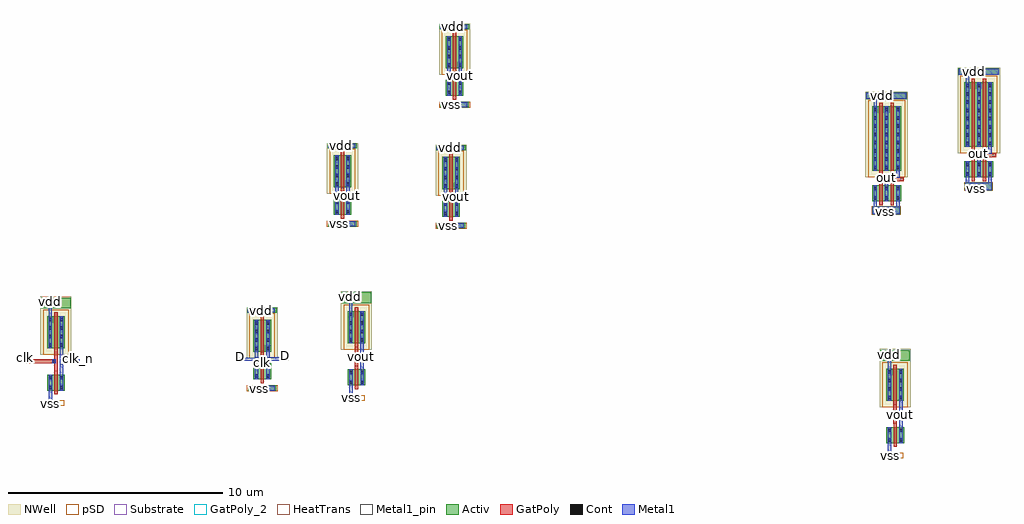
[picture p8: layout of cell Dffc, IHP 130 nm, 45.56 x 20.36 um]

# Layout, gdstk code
from math import pi, radians
import gdstk
lib = gdstk.Library(unit=1e-6, precision=1e-09)
def R(c, l, rs):  # rectangles x0, y0, x1, y1
    for r in rs: c.add(gdstk.rectangle(r[:2], r[2:], *l))
def A(c, l, x, y, w, h, nx, ny, dx, dy):  # array of equal rectangles
    R(c, l, [(x+i*dx, y+j*dy, x+i*dx+w, y+j*dy+h) for i in range(nx) for j in range(ny)])
def P(c, l, *ps):  # polygons
    for p in ps: c.add(gdstk.Polygon(p, *l))
Activ = (1, 0)
GatPoly = (5, 0)
GatPoly_2 = (5, 2)
Cont = (6, 0)
Metal1 = (8, 0)
Metal1_pin = (8, 2)
pSD = (14, 0)
NWell = (31, 0)
Substrate = (40, 0)
HeatTrans = (51, 0)

pmos_1_1 = lib.new_cell('pmos$1$1')
R(pmos_1_1, Activ, [(0,0,0.3,0.3), (0,0,0.83,3), (0.53,0,0.83,0.3)])
R(pmos_1_1, GatPoly, [(0.34,-0.18,0.49,3.18), (0.34,-0.18,0.49,3.18)])
A(pmos_1_1, Cont, 0.07, 0.07, 0.16, 0.16, 1, 7, 0, 0.385)
A(pmos_1_1, Cont, 0.6, 0.07, 0.16, 0.16, 1, 7, 0, 0.385)
R(pmos_1_1, Cont, [(0.07,2.77,0.23,2.93), (0.6,2.77,0.76,2.93)])
R(pmos_1_1, Metal1, [(0.07,0,0.23,3), (0.07,0,0.23,3), (0.6,0,0.76,3), (0.6,0,0.76,3)])
R(pmos_1_1, pSD, [(-0.18,-0.3,1.01,3.3)])
R(pmos_1_1, NWell, [(-0.31,-0.31,1.14,3.31)])
R(pmos_1_1, Substrate, [(0.53,0,0.83,0.3)])
R(pmos_1_1, HeatTrans, [(0.34,-0.18,0.49,3.18)])
pmos_1_1.add(gdstk.Label('pmos', (0.415,1.5), layer=63, texttype=0))
pmos_1_1.add(gdstk.Label('pmos', (0.415,1.5), layer=51, texttype=0))

nmos_1_1 = lib.new_cell('nmos$1$1')
R(nmos_1_1, Activ, [(0,0,0.3,0.3), (0,0,0.83,0.75), (0.53,0,0.83,0.3)])
R(nmos_1_1, GatPoly, [(0.34,-0.18,0.49,0.93)])
R(nmos_1_1, GatPoly_2, [(0.34,-0.18,0.49,0.93)])
R(nmos_1_1, Cont, [(0.07,0.07,0.23,0.23), (0.6,0.07,0.76,0.23), (0.07,0.52,0.23,0.68), (0.6,0.52,0.76,0.68)])
R(nmos_1_1, Metal1, [(0.07,0,0.23,0.75), (0.6,0,0.76,0.75)])
R(nmos_1_1, Metal1_pin, [(0.07,0,0.23,0.75), (0.6,0,0.76,0.75)])
R(nmos_1_1, HeatTrans, [(0.34,-0.18,0.49,0.93)])
nmos_1_1.add(gdstk.Label('nmos', (0.415,0.375), layer=63, texttype=0))
nmos_1_1.add(gdstk.Label('nmos', (0.415,0.375), layer=51, texttype=0))

nmos_3 = lib.new_cell('nmos$3')
R(nmos_3, Activ, [(0,0,0.3,0.3), (0,0,0.83,0.75), (0.53,0,0.83,0.3)])
R(nmos_3, GatPoly, [(0.34,-0.18,0.49,0.93)])
R(nmos_3, GatPoly_2, [(0.34,-0.18,0.49,0.93)])
R(nmos_3, Cont, [(0.07,0.07,0.23,0.23), (0.6,0.07,0.76,0.23), (0.07,0.52,0.23,0.68), (0.6,0.52,0.76,0.68)])
R(nmos_3, Metal1, [(0.07,0,0.23,0.75), (0.6,0,0.76,0.75)])
R(nmos_3, Metal1_pin, [(0.07,0,0.23,0.75), (0.6,0,0.76,0.75)])
R(nmos_3, HeatTrans, [(0.34,-0.18,0.49,0.93)])
nmos_3.add(gdstk.Label('nmos', (0.415,0.375), layer=63, texttype=0))
nmos_3.add(gdstk.Label('nmos', (0.415,0.375), layer=51, texttype=0))

pmos_3 = lib.new_cell('pmos$3')
R(pmos_3, Activ, [(0,0,0.3,0.3), (0,0,0.83,1.5), (0.53,0,0.83,0.3)])
R(pmos_3, GatPoly, [(0.34,-0.18,0.49,1.68), (0.34,-0.18,0.49,1.68)])
A(pmos_3, Cont, 0.07, 0.07, 0.16, 0.16, 1, 4, 0, 0.4)
A(pmos_3, Cont, 0.6, 0.07, 0.16, 0.16, 1, 4, 0, 0.4)
R(pmos_3, Metal1, [(0.07,0,0.23,1.5), (0.07,0,0.23,1.5), (0.6,0,0.76,1.5), (0.6,0,0.76,1.5)])
R(pmos_3, pSD, [(-0.18,-0.3,1.01,1.8)])
R(pmos_3, NWell, [(-0.31,-0.31,1.14,1.81)])
R(pmos_3, Substrate, [(0.53,0,0.83,0.3)])
R(pmos_3, HeatTrans, [(0.34,-0.18,0.49,1.68)])
pmos_3.add(gdstk.Label('pmos', (0.415,0.75), layer=63, texttype=0))
pmos_3.add(gdstk.Label('pmos', (0.415,0.75), layer=51, texttype=0))

nmos_1_3 = lib.new_cell('nmos$1$3')
R(nmos_1_3, Activ, [(0,0,0.3,0.3), (0,0,0.83,0.75), (0.53,0,0.83,0.3)])
R(nmos_1_3, GatPoly, [(0.34,-0.18,0.49,0.93)])
R(nmos_1_3, GatPoly_2, [(0.34,-0.18,0.49,0.93)])
R(nmos_1_3, Cont, [(0.07,0.07,0.23,0.23), (0.6,0.07,0.76,0.23), (0.07,0.52,0.23,0.68), (0.6,0.52,0.76,0.68)])
R(nmos_1_3, Metal1, [(0.07,0,0.23,0.75), (0.6,0,0.76,0.75)])
R(nmos_1_3, Metal1_pin, [(0.07,0,0.23,0.75), (0.6,0,0.76,0.75)])
R(nmos_1_3, HeatTrans, [(0.34,-0.18,0.49,0.93)])
nmos_1_3.add(gdstk.Label('nmos', (0.415,0.375), layer=63, texttype=0))
nmos_1_3.add(gdstk.Label('nmos', (0.415,0.375), layer=51, texttype=0))

pmos_1_3 = lib.new_cell('pmos$1$3')
R(pmos_1_3, Activ, [(0,0,0.3,0.3), (0,0,0.83,1.5), (0.53,0,0.83,0.3)])
R(pmos_1_3, GatPoly, [(0.34,-0.18,0.49,1.68), (0.34,-0.18,0.49,1.68)])
A(pmos_1_3, Cont, 0.07, 0.07, 0.16, 0.16, 1, 4, 0, 0.4)
A(pmos_1_3, Cont, 0.6, 0.07, 0.16, 0.16, 1, 4, 0, 0.4)
R(pmos_1_3, Metal1, [(0.07,0,0.23,1.5), (0.07,0,0.23,1.5), (0.6,0,0.76,1.5), (0.6,0,0.76,1.5)])
R(pmos_1_3, pSD, [(-0.18,-0.3,1.01,1.8)])
R(pmos_1_3, NWell, [(-0.31,-0.31,1.14,1.81)])
R(pmos_1_3, Substrate, [(0.53,0,0.83,0.3)])
R(pmos_1_3, HeatTrans, [(0.34,-0.18,0.49,1.68)])
pmos_1_3.add(gdstk.Label('pmos', (0.415,0.75), layer=63, texttype=0))
pmos_1_3.add(gdstk.Label('pmos', (0.415,0.75), layer=51, texttype=0))

nmos_1_3_1 = lib.new_cell('nmos$1$3$1')
R(nmos_1_3_1, Activ, [(0,0,0.3,0.3), (0,0,0.83,0.75), (0.53,0,0.83,0.3)])
R(nmos_1_3_1, GatPoly, [(0.34,-0.18,0.49,0.93)])
R(nmos_1_3_1, GatPoly_2, [(0.34,-0.18,0.49,0.93)])
R(nmos_1_3_1, Cont, [(0.07,0.07,0.23,0.23), (0.6,0.07,0.76,0.23), (0.07,0.52,0.23,0.68), (0.6,0.52,0.76,0.68)])
R(nmos_1_3_1, Metal1, [(0.07,0,0.23,0.75), (0.6,0,0.76,0.75)])
R(nmos_1_3_1, Metal1_pin, [(0.07,0,0.23,0.75), (0.6,0,0.76,0.75)])
R(nmos_1_3_1, HeatTrans, [(0.34,-0.18,0.49,0.93)])
nmos_1_3_1.add(gdstk.Label('nmos', (0.415,0.375), layer=63, texttype=0))
nmos_1_3_1.add(gdstk.Label('nmos', (0.415,0.375), layer=51, texttype=0))

pmos_1_3_1 = lib.new_cell('pmos$1$3$1')
R(pmos_1_3_1, Activ, [(0,0,0.3,0.3), (0,0,0.83,1.5), (0.53,0,0.83,0.3)])
R(pmos_1_3_1, GatPoly, [(0.34,-0.18,0.49,1.68), (0.34,-0.18,0.49,1.68)])
A(pmos_1_3_1, Cont, 0.07, 0.07, 0.16, 0.16, 1, 4, 0, 0.4)
A(pmos_1_3_1, Cont, 0.6, 0.07, 0.16, 0.16, 1, 4, 0, 0.4)
R(pmos_1_3_1, Metal1, [(0.07,0,0.23,1.5), (0.07,0,0.23,1.5), (0.6,0,0.76,1.5), (0.6,0,0.76,1.5)])
R(pmos_1_3_1, pSD, [(-0.18,-0.3,1.01,1.8)])
R(pmos_1_3_1, NWell, [(-0.31,-0.31,1.14,1.81)])
R(pmos_1_3_1, Substrate, [(0.53,0,0.83,0.3)])
R(pmos_1_3_1, HeatTrans, [(0.34,-0.18,0.49,1.68)])
pmos_1_3_1.add(gdstk.Label('pmos', (0.415,0.75), layer=63, texttype=0))
pmos_1_3_1.add(gdstk.Label('pmos', (0.415,0.75), layer=51, texttype=0))

nmos_1_3_1_1 = lib.new_cell('nmos$1$3$1$1')
R(nmos_1_3_1_1, Activ, [(0,0,0.3,0.3), (0,0,0.83,0.75), (0.53,0,0.83,0.3)])
R(nmos_1_3_1_1, GatPoly, [(0.34,-0.18,0.49,0.93)])
R(nmos_1_3_1_1, GatPoly_2, [(0.34,-0.18,0.49,0.93)])
R(nmos_1_3_1_1, Cont, [(0.07,0.07,0.23,0.23), (0.6,0.07,0.76,0.23), (0.07,0.52,0.23,0.68), (0.6,0.52,0.76,0.68)])
R(nmos_1_3_1_1, Metal1, [(0.07,0,0.23,0.75), (0.6,0,0.76,0.75)])
R(nmos_1_3_1_1, Metal1_pin, [(0.07,0,0.23,0.75), (0.6,0,0.76,0.75)])
R(nmos_1_3_1_1, HeatTrans, [(0.34,-0.18,0.49,0.93)])
nmos_1_3_1_1.add(gdstk.Label('nmos', (0.415,0.375), layer=63, texttype=0))
nmos_1_3_1_1.add(gdstk.Label('nmos', (0.415,0.375), layer=51, texttype=0))

pmos_1_3_1_1 = lib.new_cell('pmos$1$3$1$1')
R(pmos_1_3_1_1, Activ, [(0,0,0.3,0.3), (0,0,0.83,1.5), (0.53,0,0.83,0.3)])
R(pmos_1_3_1_1, GatPoly, [(0.34,-0.18,0.49,1.68), (0.34,-0.18,0.49,1.68)])
A(pmos_1_3_1_1, Cont, 0.07, 0.07, 0.16, 0.16, 1, 4, 0, 0.4)
A(pmos_1_3_1_1, Cont, 0.6, 0.07, 0.16, 0.16, 1, 4, 0, 0.4)
R(pmos_1_3_1_1, Metal1, [(0.07,0,0.23,1.5), (0.07,0,0.23,1.5), (0.6,0,0.76,1.5), (0.6,0,0.76,1.5)])
R(pmos_1_3_1_1, pSD, [(-0.18,-0.3,1.01,1.8)])
R(pmos_1_3_1_1, NWell, [(-0.31,-0.31,1.14,1.81)])
R(pmos_1_3_1_1, Substrate, [(0.53,0,0.83,0.3)])
R(pmos_1_3_1_1, HeatTrans, [(0.34,-0.18,0.49,1.68)])
pmos_1_3_1_1.add(gdstk.Label('pmos', (0.415,0.75), layer=63, texttype=0))
pmos_1_3_1_1.add(gdstk.Label('pmos', (0.415,0.75), layer=51, texttype=0))

nmos_3_1 = lib.new_cell('nmos$3$1')
R(nmos_3_1, Activ, [(0,0,0.3,0.3), (0,0,0.83,0.75), (0.53,0,0.83,0.3)])
R(nmos_3_1, GatPoly, [(0.34,-0.18,0.49,0.93)])
R(nmos_3_1, GatPoly_2, [(0.34,-0.18,0.49,0.93)])
R(nmos_3_1, Cont, [(0.07,0.07,0.23,0.23), (0.6,0.07,0.76,0.23), (0.07,0.52,0.23,0.68), (0.6,0.52,0.76,0.68)])
R(nmos_3_1, Metal1, [(0.07,0,0.23,0.75), (0.6,0,0.76,0.75)])
R(nmos_3_1, Metal1_pin, [(0.07,0,0.23,0.75), (0.6,0,0.76,0.75)])
R(nmos_3_1, HeatTrans, [(0.34,-0.18,0.49,0.93)])
nmos_3_1.add(gdstk.Label('nmos', (0.415,0.375), layer=63, texttype=0))
nmos_3_1.add(gdstk.Label('nmos', (0.415,0.375), layer=51, texttype=0))

pmos_3_1 = lib.new_cell('pmos$3$1')
R(pmos_3_1, Activ, [(0,0,0.3,0.3), (0,0,0.83,1.5), (0.53,0,0.83,0.3)])
R(pmos_3_1, GatPoly, [(0.34,-0.18,0.49,1.68), (0.34,-0.18,0.49,1.68)])
A(pmos_3_1, Cont, 0.07, 0.07, 0.16, 0.16, 1, 4, 0, 0.4)
A(pmos_3_1, Cont, 0.6, 0.07, 0.16, 0.16, 1, 4, 0, 0.4)
R(pmos_3_1, Metal1, [(0.07,0,0.23,1.5), (0.07,0,0.23,1.5), (0.6,0,0.76,1.5), (0.6,0,0.76,1.5)])
R(pmos_3_1, pSD, [(-0.18,-0.3,1.01,1.8)])
R(pmos_3_1, NWell, [(-0.31,-0.31,1.14,1.81)])
R(pmos_3_1, Substrate, [(0.53,0,0.83,0.3)])
R(pmos_3_1, HeatTrans, [(0.34,-0.18,0.49,1.68)])
pmos_3_1.add(gdstk.Label('pmos', (0.415,0.75), layer=63, texttype=0))
pmos_3_1.add(gdstk.Label('pmos', (0.415,0.75), layer=51, texttype=0))

nmos_3_1_1 = lib.new_cell('nmos$3$1$1')
R(nmos_3_1_1, Activ, [(0,0,0.3,0.3), (0,0,0.83,0.75), (0.53,0,0.83,0.3)])
R(nmos_3_1_1, GatPoly, [(0.34,-0.18,0.49,0.93)])
R(nmos_3_1_1, GatPoly_2, [(0.34,-0.18,0.49,0.93)])
R(nmos_3_1_1, Cont, [(0.07,0.07,0.23,0.23), (0.6,0.07,0.76,0.23), (0.07,0.52,0.23,0.68), (0.6,0.52,0.76,0.68)])
R(nmos_3_1_1, Metal1, [(0.07,0,0.23,0.75), (0.6,0,0.76,0.75)])
R(nmos_3_1_1, Metal1_pin, [(0.07,0,0.23,0.75), (0.6,0,0.76,0.75)])
R(nmos_3_1_1, HeatTrans, [(0.34,-0.18,0.49,0.93)])
nmos_3_1_1.add(gdstk.Label('nmos', (0.415,0.375), layer=63, texttype=0))
nmos_3_1_1.add(gdstk.Label('nmos', (0.415,0.375), layer=51, texttype=0))

pmos_3_1_1 = lib.new_cell('pmos$3$1$1')
R(pmos_3_1_1, Activ, [(0,0,0.3,0.3), (0,0,0.83,1.5), (0.53,0,0.83,0.3)])
R(pmos_3_1_1, GatPoly, [(0.34,-0.18,0.49,1.68), (0.34,-0.18,0.49,1.68)])
A(pmos_3_1_1, Cont, 0.07, 0.07, 0.16, 0.16, 1, 4, 0, 0.4)
A(pmos_3_1_1, Cont, 0.6, 0.07, 0.16, 0.16, 1, 4, 0, 0.4)
R(pmos_3_1_1, Metal1, [(0.07,0,0.23,1.5), (0.07,0,0.23,1.5), (0.6,0,0.76,1.5), (0.6,0,0.76,1.5)])
R(pmos_3_1_1, pSD, [(-0.18,-0.3,1.01,1.8)])
R(pmos_3_1_1, NWell, [(-0.31,-0.31,1.14,1.81)])
R(pmos_3_1_1, Substrate, [(0.53,0,0.83,0.3)])
R(pmos_3_1_1, HeatTrans, [(0.34,-0.18,0.49,1.68)])
pmos_3_1_1.add(gdstk.Label('pmos', (0.415,0.75), layer=63, texttype=0))
pmos_3_1_1.add(gdstk.Label('pmos', (0.415,0.75), layer=51, texttype=0))

nmos_3_1_1_1 = lib.new_cell('nmos$3$1$1$1')
R(nmos_3_1_1_1, Activ, [(0,0,0.3,0.3), (0,0,0.83,0.75), (0.53,0,0.83,0.3)])
R(nmos_3_1_1_1, GatPoly, [(0.34,-0.18,0.49,0.93)])
R(nmos_3_1_1_1, GatPoly_2, [(0.34,-0.18,0.49,0.93)])
R(nmos_3_1_1_1, Cont, [(0.07,0.07,0.23,0.23), (0.6,0.07,0.76,0.23), (0.07,0.52,0.23,0.68), (0.6,0.52,0.76,0.68)])
R(nmos_3_1_1_1, Metal1, [(0.07,0,0.23,0.75), (0.6,0,0.76,0.75)])
R(nmos_3_1_1_1, Metal1_pin, [(0.07,0,0.23,0.75), (0.6,0,0.76,0.75)])
R(nmos_3_1_1_1, HeatTrans, [(0.34,-0.18,0.49,0.93)])
nmos_3_1_1_1.add(gdstk.Label('nmos', (0.415,0.375), layer=63, texttype=0))
nmos_3_1_1_1.add(gdstk.Label('nmos', (0.415,0.375), layer=51, texttype=0))

pmos_3_1_1_1 = lib.new_cell('pmos$3$1$1$1')
R(pmos_3_1_1_1, Activ, [(0,0,0.3,0.3), (0,0,0.83,1.5), (0.53,0,0.83,0.3)])
R(pmos_3_1_1_1, GatPoly, [(0.34,-0.18,0.49,1.68), (0.34,-0.18,0.49,1.68)])
A(pmos_3_1_1_1, Cont, 0.07, 0.07, 0.16, 0.16, 1, 4, 0, 0.4)
A(pmos_3_1_1_1, Cont, 0.6, 0.07, 0.16, 0.16, 1, 4, 0, 0.4)
R(pmos_3_1_1_1, Metal1, [(0.07,0,0.23,1.5), (0.07,0,0.23,1.5), (0.6,0,0.76,1.5), (0.6,0,0.76,1.5)])
R(pmos_3_1_1_1, pSD, [(-0.18,-0.3,1.01,1.8)])
R(pmos_3_1_1_1, NWell, [(-0.31,-0.31,1.14,1.81)])
R(pmos_3_1_1_1, Substrate, [(0.53,0,0.83,0.3)])
R(pmos_3_1_1_1, HeatTrans, [(0.34,-0.18,0.49,1.68)])
pmos_3_1_1_1.add(gdstk.Label('pmos', (0.415,0.75), layer=63, texttype=0))
pmos_3_1_1_1.add(gdstk.Label('pmos', (0.415,0.75), layer=51, texttype=0))

pmos_1_1_1 = lib.new_cell('pmos$1$1$1')
R(pmos_1_1_1, Activ, [(0,0,0.3,0.3), (0,0,0.83,3), (0.53,0,0.83,0.3)])
R(pmos_1_1_1, GatPoly, [(0.34,-0.18,0.49,3.18), (0.34,-0.18,0.49,3.18)])
A(pmos_1_1_1, Cont, 0.07, 0.07, 0.16, 0.16, 1, 7, 0, 0.385)
A(pmos_1_1_1, Cont, 0.6, 0.07, 0.16, 0.16, 1, 7, 0, 0.385)
R(pmos_1_1_1, Cont, [(0.07,2.77,0.23,2.93), (0.6,2.77,0.76,2.93)])
R(pmos_1_1_1, Metal1, [(0.07,0,0.23,3), (0.07,0,0.23,3), (0.6,0,0.76,3), (0.6,0,0.76,3)])
R(pmos_1_1_1, pSD, [(-0.18,-0.3,1.01,3.3)])
R(pmos_1_1_1, NWell, [(-0.31,-0.31,1.14,3.31)])
R(pmos_1_1_1, Substrate, [(0.53,0,0.83,0.3)])
R(pmos_1_1_1, HeatTrans, [(0.34,-0.18,0.49,3.18)])
pmos_1_1_1.add(gdstk.Label('pmos', (0.415,1.5), layer=63, texttype=0))
pmos_1_1_1.add(gdstk.Label('pmos', (0.415,1.5), layer=51, texttype=0))

nmos_1_1_1 = lib.new_cell('nmos$1$1$1')
R(nmos_1_1_1, Activ, [(0,0,0.3,0.3), (0,0,0.83,0.75), (0.53,0,0.83,0.3)])
R(nmos_1_1_1, GatPoly, [(0.34,-0.18,0.49,0.93)])
R(nmos_1_1_1, GatPoly_2, [(0.34,-0.18,0.49,0.93)])
R(nmos_1_1_1, Cont, [(0.07,0.07,0.23,0.23), (0.6,0.07,0.76,0.23), (0.07,0.52,0.23,0.68), (0.6,0.52,0.76,0.68)])
R(nmos_1_1_1, Metal1, [(0.07,0,0.23,0.75), (0.6,0,0.76,0.75)])
R(nmos_1_1_1, Metal1_pin, [(0.07,0,0.23,0.75), (0.6,0,0.76,0.75)])
R(nmos_1_1_1, HeatTrans, [(0.34,-0.18,0.49,0.93)])
nmos_1_1_1.add(gdstk.Label('nmos', (0.415,0.375), layer=63, texttype=0))
nmos_1_1_1.add(gdstk.Label('nmos', (0.415,0.375), layer=51, texttype=0))

dffc = lib.new_cell('Dffc')
R(dffc, Activ, [(21.869,0.649,22.504,0.819), (-17.309,3.101,-16.674,3.271), (-3.278,3.342,-2.643,3.512), (-7.891,3.742,-6.576,3.997), (21.624,5.144,23.009,5.649), (-7.931,7.392,-6.556,7.622), (-17.554,7.596,-16.169,8.101), (-3.523,7.837,-2.138,8.342), (0.924,11.333,2.239,11.588), (-4.143,11.417,-2.828,11.672), (21.259,11.978,22.544,12.343), (25.562,13.101,26.847,13.466), (0.884,14.983,2.259,15.213), (-4.183,15.067,-2.808,15.297), (1.089,16.979,2.404,17.234), (20.959,17.368,22.859,17.683), (25.262,18.491,27.162,18.806), (1.049,20.629,2.424,20.859)])
R(dffc, GatPoly, [(22.239,2.209,22.389,3.099), (22.129,2.589,22.299,2.759), (-2.908,4.902,-2.758,5.792), (-3.018,5.282,-2.848,5.452)])
P(dffc, GatPoly, [(-16.939,4.661),(-16.939,5.038),(-18.353,5.038),(-18.353,5.228),(-16.939,5.228),(-16.939,5.551),(-16.789,5.551),(-16.789,4.661)],
  [(22.109,13.523),(22.109,13.843),(22.259,13.843),(22.259,13.713),(22.729,13.713),(22.729,13.523)],
  [(21.579,13.458),(21.579,13.548),(21.544,13.548),(21.544,13.713),(21.579,13.713),(21.579,13.843),(21.729,13.843),(21.729,13.458)],
  [(26.412,14.646),(26.412,14.966),(26.562,14.966),(26.562,14.836),(27.032,14.836),(27.032,14.646)],
  [(25.882,14.581),(25.882,14.671),(25.847,14.671),(25.847,14.836),(25.882,14.836),(25.882,14.966),(26.032,14.966),(26.032,14.581)])
R(dffc, GatPoly_2, [(-7.306,5.062,-7.156,5.207), (-7.306,5.392,-7.156,5.557), (1.509,12.653,1.659,12.798), (-3.558,12.737,-3.408,12.882), (1.509,12.983,1.659,13.148), (-3.558,13.067,-3.408,13.232), (22.564,13.543,22.719,13.703), (21.549,13.553,21.719,13.708), (26.867,14.666,27.022,14.826), (25.852,14.676,26.022,14.831), (1.674,18.299,1.824,18.444), (1.674,18.629,1.824,18.794)])
R(dffc, Cont, [(21.979,0.649,22.139,0.809), (22.139,2.594,22.299,2.754), (-17.199,3.101,-17.039,3.261), (-3.168,3.342,-3.008,3.502), (-7.446,3.787,-7.281,3.947), (-17.039,5.046,-16.879,5.206), (-7.576,5.142,-7.416,5.302), (-7.046,5.142,-6.886,5.302), (-3.008,5.287,-2.848,5.447), (21.969,5.324,22.129,5.484), (-7.366,7.427,-7.206,7.587), (-17.209,7.776,-17.049,7.936), (-3.178,8.017,-3.018,8.177), (1.369,11.378,1.534,11.538), (-3.698,11.462,-3.533,11.622), (21.744,12.038,21.954,12.243), (1.239,12.733,1.399,12.893), (1.769,12.733,1.929,12.893), (-3.828,12.817,-3.668,12.977), (-3.298,12.817,-3.138,12.977), (26.047,13.161,26.257,13.366), (21.839,13.683,21.999,13.843), (26.142,14.806,26.302,14.966), (1.449,15.018,1.609,15.178), (-3.618,15.102,-3.458,15.262), (1.534,17.024,1.699,17.184), (21.634,17.463,21.794,17.623), (1.404,18.379,1.564,18.539), (1.934,18.379,2.094,18.539), (25.937,18.586,26.097,18.746), (1.614,20.664,1.774,20.824)])
R(dffc, Metal1, [(21.974,0.514,22.134,1.304), (22.499,2.029,22.664,3.279), (22.134,2.589,22.304,2.759), (-17.204,2.966,-17.044,3.756), (-3.173,3.207,-3.013,3.997), (-7.826,3.757,-6.636,3.977), (-2.648,4.722,-2.483,5.972), (21.969,4.779,22.129,5.694), (-17.044,5.041,-16.874,5.211), (-3.013,5.282,-2.843,5.452), (-17.209,7.231,-17.049,8.146), (-7.901,7.417,-6.636,7.597), (-3.178,7.472,-3.018,8.387), (0.989,11.348,2.179,11.568), (-4.078,11.432,-2.888,11.652), (1.239,12.598,1.399,13.163), (1.769,12.608,1.929,13.178), (-3.828,12.682,-3.668,13.247), (-3.298,12.692,-3.138,13.262), (0.914,15.008,2.179,15.188), (-4.153,15.092,-2.888,15.272), (1.154,16.994,2.344,17.214), (1.404,18.244,1.564,18.809), (1.934,18.254,2.094,18.824), (1.079,20.654,2.344,20.834)])
P(dffc, Metal1, [(-16.679,4.481),(-16.679,5.731),(-16.514,5.731),(-16.514,5.221),(-15.753,5.221),(-15.753,5.019),(-16.514,5.019),(-16.514,4.481)],
  [(-7.576,5.007),(-7.576,5.142),(-8.281,5.142),(-8.281,5.301),(-7.576,5.301),(-7.576,5.572),(-7.416,5.572),(-7.416,5.007)],
  [(-7.046,5.017),(-7.046,5.587),(-6.886,5.587),(-6.886,5.302),(-6.011,5.302),(-6.011,5.142),(-6.886,5.142),(-6.886,5.017)],
  [(21.279,11.993),(21.279,12.328),(21.309,12.328),(21.309,12.593),(21.469,12.593),(21.469,12.328),(22.369,12.328),(22.369,12.593),(22.529,12.593),(22.529,11.993)],
  [(21.839,13.333),(21.839,13.843),(22.369,13.843),(22.369,14.023),(22.529,14.023),(22.529,13.683),(21.999,13.683),(21.999,13.333)],
  [(21.309,17.023),(21.309,17.388),(20.979,17.388),(20.979,17.658),(22.839,17.658),(22.839,17.388),(21.469,17.388),(21.469,17.023)],
  [(25.582,13.116),(25.582,13.451),(25.612,13.451),(25.612,13.716),(25.772,13.716),(25.772,13.451),(26.672,13.451),(26.672,13.716),(26.832,13.716),(26.832,13.116)],
  [(26.142,14.456),(26.142,14.966),(26.672,14.966),(26.672,15.146),(26.832,15.146),(26.832,14.806),(26.302,14.806),(26.302,14.456)],
  [(25.612,18.146),(25.612,18.511),(25.282,18.511),(25.282,18.781),(27.142,18.781),(27.142,18.511),(25.772,18.511),(25.772,18.146)],
  [(-3.173,3.997),(-3.173,3.997),(-3.013,3.997),(-3.013,3.997)],
  [(21.974,1.304),(21.974,1.304),(22.134,1.304),(22.134,1.304)],
  [(-17.204,3.756),(-17.204,3.756),(-17.044,3.756),(-17.044,3.756)])
R(dffc, Metal1_pin, [(21.974,0.644,22.134,0.819), (22.499,2.514,22.664,2.769), (-17.204,3.096,-17.044,3.271), (-3.173,3.337,-3.013,3.512), (-7.446,3.787,-7.281,3.947), (-16.679,4.966,-16.514,5.221), (-7.576,5.107,-7.416,5.317), (-7.046,5.117,-6.886,5.317), (-2.648,5.207,-2.483,5.462), (21.969,5.209,22.129,5.614), (-7.366,7.427,-7.206,7.587), (-17.209,7.661,-17.049,8.066), (-3.178,7.902,-3.018,8.307), (1.369,11.378,1.534,11.538), (-3.698,11.462,-3.533,11.622), (21.744,12.038,21.954,12.243), (1.239,12.698,1.399,12.908), (1.769,12.708,1.929,12.908), (-3.828,12.782,-3.668,12.992), (-3.298,12.792,-3.138,12.992), (26.047,13.161,26.257,13.366), (21.839,13.683,21.999,13.843), (26.142,14.806,26.302,14.966), (1.449,15.018,1.609,15.178), (-3.618,15.102,-3.458,15.262), (1.534,17.024,1.699,17.184), (21.634,17.468,21.794,17.623), (1.404,18.344,1.564,18.554), (1.934,18.354,2.094,18.554), (25.937,18.591,26.097,18.746), (1.614,20.664,1.774,20.824)])
R(dffc, pSD, [(21.844,0.599,22.704,0.844), (-17.334,3.051,-16.474,3.296), (-3.303,3.292,-2.443,3.537), (-7.956,3.727,-6.506,4.007), (0.859,11.318,2.309,11.598), (-4.208,11.402,-2.758,11.682), (21.234,11.958,22.569,12.363), (25.537,13.081,26.872,13.486), (1.024,16.964,2.474,17.244)])
R(dffc, NWell, [(21.589,5.089,23.039,5.699), (-7.956,7.382,-6.506,7.637), (-17.589,7.541,-16.139,8.151), (-3.558,7.782,-2.108,8.392), (0.859,14.973,2.309,15.228), (-4.208,15.057,-2.758,15.312), (20.929,17.333,22.909,17.708), (25.232,18.456,27.212,18.831), (1.024,20.619,2.474,20.874)])
dffc.add(gdstk.Reference(pmos_1_1, (22.599,17.023), rotation=pi))
dffc.add(gdstk.Reference(nmos_1_1, (22.069,13.343), rotation=pi))
dffc.add(gdstk.Reference(nmos_1_1, (22.599,13.343), rotation=pi))
dffc.add(gdstk.Reference(pmos_1_1, (22.069,17.023), rotation=pi))
dffc.add(gdstk.Reference(nmos_3, (-3.898,11.957)))
dffc.add(gdstk.Reference(pmos_3, (-3.898,13.247)))
dffc.add(gdstk.Reference(nmos_1_3, (-2.413,4.747), rotation=pi))
dffc.add(gdstk.Reference(pmos_1_3, (-2.418,7.472), rotation=pi))
dffc.add(gdstk.Reference(nmos_1_3_1, (22.734,2.054), rotation=pi))
dffc.add(gdstk.Reference(pmos_1_3_1, (22.729,4.779), rotation=pi))
dffc.add(gdstk.Reference(nmos_1_3_1_1, (-16.444,4.506), rotation=pi))
dffc.add(gdstk.Reference(pmos_1_3_1_1, (-16.449,7.231), rotation=pi))
dffc.add(gdstk.Reference(nmos_3_1, (1.169,11.873)))
dffc.add(gdstk.Reference(pmos_3_1, (1.169,13.163)))
dffc.add(gdstk.Reference(nmos_3_1_1, (1.334,17.519)))
dffc.add(gdstk.Reference(pmos_3_1_1, (1.334,18.809)))
dffc.add(gdstk.Reference(nmos_3_1_1_1, (-7.646,4.282)))
dffc.add(gdstk.Reference(pmos_3_1_1_1, (-7.646,5.572)))
dffc.add(gdstk.Reference(pmos_1_1_1, (26.902,18.146), rotation=pi))
dffc.add(gdstk.Reference(nmos_1_1_1, (26.372,14.466), rotation=pi))
dffc.add(gdstk.Reference(nmos_1_1_1, (26.902,14.466), rotation=pi))
dffc.add(gdstk.Reference(pmos_1_1_1, (26.372,18.146), rotation=pi))
dffc.add(gdstk.Label('clk', (-18.279,5.325), layer=63, texttype=0))
dffc.add(gdstk.Label('clk_n', (-15.793,5.255), layer=63, texttype=0))
dffc.add(gdstk.Label('D', (-8.232,5.356), layer=63, texttype=0))
dffc.add(gdstk.Label('D', (-6.168,5.387), layer=63, texttype=0))
dffc.add(gdstk.Label('clk', (-7.218,5.087), layer=63, texttype=0))
dffc.add(gdstk.Label('clk_n', (-7.228,5.445), layer=63, texttype=0))
dffc.add(gdstk.Label('out', (21.899,13.713), layer=8, texttype=2))
dffc.add(gdstk.Label('vss', (21.864,12.113), layer=8, texttype=2))
dffc.add(gdstk.Label('vdd', (21.704,17.538), layer=8, texttype=2))
dffc.add(gdstk.Label('vout', (-3.228,12.887), layer=8, texttype=2))
dffc.add(gdstk.Label('vin', (-3.758,12.872), layer=8, texttype=2))
dffc.add(gdstk.Label('vss', (-3.608,11.542), layer=8, texttype=2))
dffc.add(gdstk.Label('vdd', (-3.528,15.182), layer=8, texttype=2))
dffc.add(gdstk.Label('vout', (22.549,2.649), layer=8, texttype=2))
dffc.add(gdstk.Label('vss', (22.079,0.724), layer=8, texttype=2))
dffc.add(gdstk.Label('vdd', (22.054,5.459), layer=8, texttype=2))
dffc.add(gdstk.Label('vout', (-16.629,5.101), layer=8, texttype=2))
dffc.add(gdstk.Label('vss', (-17.099,3.176), layer=8, texttype=2))
dffc.add(gdstk.Label('vdd', (-17.124,7.911), layer=8, texttype=2))
dffc.add(gdstk.Label('vout', (1.839,12.803), layer=8, texttype=2))
dffc.add(gdstk.Label('vin', (1.309,12.788), layer=8, texttype=2))
dffc.add(gdstk.Label('vss', (1.459,11.458), layer=8, texttype=2))
dffc.add(gdstk.Label('vdd', (1.539,15.098), layer=8, texttype=2))
dffc.add(gdstk.Label('vout', (2.004,18.449), layer=8, texttype=2))
dffc.add(gdstk.Label('vin', (1.474,18.434), layer=8, texttype=2))
dffc.add(gdstk.Label('vss', (1.624,17.104), layer=8, texttype=2))
dffc.add(gdstk.Label('vdd', (1.704,20.744), layer=8, texttype=2))
dffc.add(gdstk.Label('vout', (-6.976,5.212), layer=8, texttype=2))
dffc.add(gdstk.Label('vin', (-7.506,5.197), layer=8, texttype=2))
dffc.add(gdstk.Label('vss', (-7.356,3.867), layer=8, texttype=2))
dffc.add(gdstk.Label('vdd', (-7.276,7.507), layer=8, texttype=2))
dffc.add(gdstk.Label('out', (26.202,14.836), layer=8, texttype=2))
dffc.add(gdstk.Label('vss', (26.1,13.21), layer=8, texttype=2))
dffc.add(gdstk.Label('vdd', (26.007,18.661), layer=8, texttype=2))
dffc.add(gdstk.Label('vout', (-2.598,5.342), layer=8, texttype=2))
dffc.add(gdstk.Label('vss', (-3.068,3.417), layer=8, texttype=2))
dffc.add(gdstk.Label('vdd', (-3.093,8.152), layer=8, texttype=2))
dffc.add(gdstk.Label('D', (22.659,13.638), layer=5, texttype=2))
dffc.add(gdstk.Label('clr', (21.629,13.628), layer=5, texttype=2))
dffc.add(gdstk.Label('Entrada_N', (-3.458,12.812), layer=5, texttype=2))
dffc.add(gdstk.Label('Entrada_P', (-3.493,13.162), layer=5, texttype=2))
dffc.add(gdstk.Label('vin', (22.214,2.664), layer=5, texttype=2))
dffc.add(gdstk.Label('vin', (-16.964,5.116), layer=5, texttype=2))
dffc.add(gdstk.Label('Entrada_N', (1.609,12.728), layer=5, texttype=2))
dffc.add(gdstk.Label('Entrada_P', (1.574,13.078), layer=5, texttype=2))
dffc.add(gdstk.Label('Entrada_N', (1.774,18.374), layer=5, texttype=2))
dffc.add(gdstk.Label('Entrada_P', (1.739,18.724), layer=5, texttype=2))
dffc.add(gdstk.Label('Entrada_N', (-7.206,5.137), layer=5, texttype=2))
dffc.add(gdstk.Label('Entrada_P', (-7.241,5.487), layer=5, texttype=2))
dffc.add(gdstk.Label('D', (26.962,14.761), layer=5, texttype=2))
dffc.add(gdstk.Label('clr', (25.932,14.751), layer=5, texttype=2))
dffc.add(gdstk.Label('vin', (-2.933,5.357), layer=5, texttype=2))

lib.write_gds('Dffc.gds')
